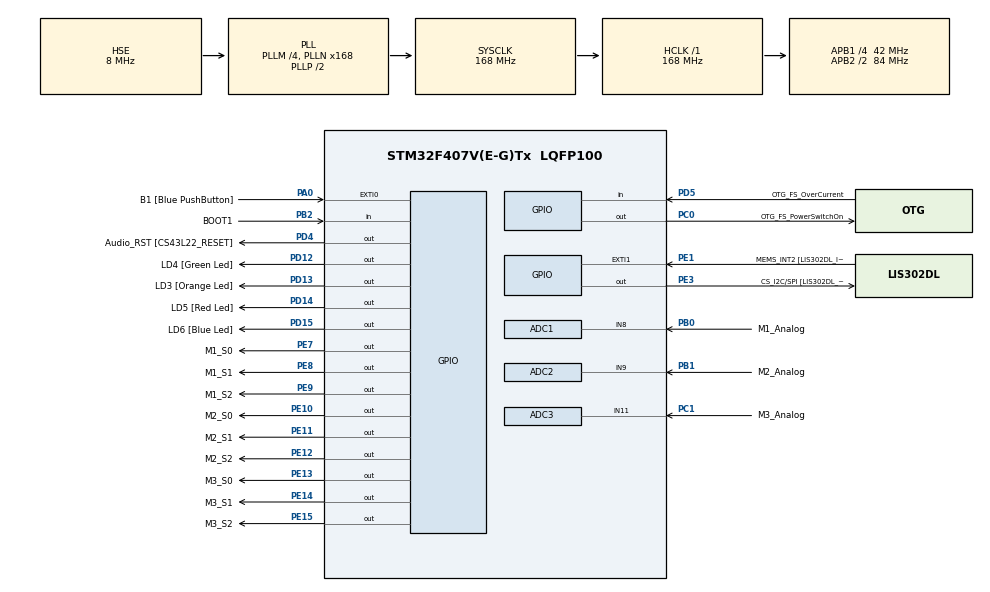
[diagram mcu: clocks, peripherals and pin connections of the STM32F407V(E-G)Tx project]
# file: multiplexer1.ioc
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ADC1.Channel-3\#ChannelRegularConversion=ADC_CHANNEL_8
ADC1.NbrOfConversionFlag=1
ADC1.Rank-3\#ChannelRegularConversion=1
ADC1.SamplingTime-3\#ChannelRegularConversion=ADC_SAMPLETIME_3CYCLES
ADC1.master=1
ADC2.Channel-4\#ChannelRegularConversion=ADC_CHANNEL_9
ADC2.NbrOfConversionFlag=1
ADC2.Rank-4\#ChannelRegularConversion=1
ADC2.SamplingTime-4\#ChannelRegularConversion=ADC_SAMPLETIME_3CYCLES
ADC3.Channel-2\#ChannelRegularConversion=ADC_CHANNEL_11
ADC3.NbrOfConversionFlag=1
ADC3.Rank-2\#ChannelRegularConversion=1
ADC3.SamplingTime-2\#ChannelRegularConversion=ADC_SAMPLETIME_3CYCLES
Mcu.Family=STM32F4
Mcu.Name=STM32F407V(E-G)Tx
Mcu.Package=LQFP100
NVIC.PriorityGroup=NVIC_PRIORITYGROUP_0
PA0-WKUP.GPIO_Label=B1 [Blue PushButton]
PA0-WKUP.Signal=GPXTI0
PA10.GPIO_Label=OTG_FS_ID
PA10.GPIO_Mode=GPIO_MODE_AF_PP
PA10.GPIO_PuPd=GPIO_NOPULL
PA10.GPIO_Speed=GPIO_SPEED_FREQ_LOW
PA10.Signal=USB_OTG_FS_ID
PA11.GPIO_Label=OTG_FS_DM
PA11.GPIO_Mode=GPIO_MODE_AF_PP
PA11.GPIO_PuPd=GPIO_NOPULL
PA11.GPIO_Speed=GPIO_SPEED_FREQ_LOW
PA11.Signal=USB_OTG_FS_DM
PA12.GPIO_Label=OTG_FS_DP
PA12.GPIO_Mode=GPIO_MODE_AF_PP
PA12.GPIO_PuPd=GPIO_NOPULL
PA12.GPIO_Speed=GPIO_SPEED_FREQ_LOW
PA12.Signal=USB_OTG_FS_DP
PA13.GPIO_Label=SWDIO
PA13.Signal=SYS_JTMS-SWDIO
PA14.GPIO_Label=SWCLK
PA14.Signal=SYS_JTCK-SWCLK
PA4.GPIO_Label=I2S3_WS [CS43L22_LRCK]
PA4.GPIO_Mode=GPIO_MODE_AF_PP
PA4.GPIO_PuPd=GPIO_NOPULL
PA4.GPIO_Speed=GPIO_SPEED_FREQ_LOW
PA4.Signal=I2S3_WS
PA5.GPIO_Label=SPI1_SCK [LIS302DL_SCL/SPC]
PA5.GPIO_Mode=GPIO_MODE_AF_PP
PA5.GPIO_PuPd=GPIO_NOPULL
PA5.GPIO_Speed=GPIO_SPEED_FREQ_LOW
PA5.Signal=SPI1_SCK
PA6.GPIO_Label=SPI1_MISO [LIS302DL_SDO]
PA6.GPIO_Mode=GPIO_MODE_AF_PP
PA6.GPIO_PuPd=GPIO_NOPULL
PA6.GPIO_Speed=GPIO_SPEED_FREQ_LOW
PA6.Signal=SPI1_MISO
PA7.GPIO_Label=SPI1_MOSI [LIS302DL_SDA/SDI/SDO]
PA7.GPIO_Mode=GPIO_MODE_AF_PP
PA7.GPIO_PuPd=GPIO_NOPULL
PA7.GPIO_Speed=GPIO_SPEED_FREQ_LOW
PA7.Signal=SPI1_MOSI
PA9.GPIO_Label=VBUS_FS
PA9.GPIO_Mode=GPIO_MODE_INPUT
PA9.GPIO_PuPd=GPIO_NOPULL
PA9.Signal=USB_OTG_FS_VBUS
PB0.GPIO_Label=M1_Analog
PB0.Signal=ADCx_IN8
PB1.GPIO_Label=M2_Analog
PB1.Signal=ADCx_IN9
PB10.GPIO_Label=CLK_IN [MP45DT02_CLK]
PB10.GPIO_Mode=GPIO_MODE_AF_PP
PB10.GPIO_PuPd=GPIO_NOPULL
PB10.GPIO_Speed=GPIO_SPEED_FREQ_LOW
PB10.Signal=I2S2_CK
PB2.GPIO_Label=BOOT1
PB2.GPIO_Mode=GPIO_MODE_INPUT
PB2.GPIO_PuPd=GPIO_NOPULL
PB2.Signal=GPIO_Input
PB3.GPIO_Label=SWO
PB3.Signal=SYS_JTDO-SWO
PB6.GPIO_Label=Audio_SCL [CS43L22_SCL]
PB6.GPIO_Mode=GPIO_MODE_AF_OD
PB6.GPIO_PuPd=GPIO_NOPULL
PB6.GPIO_Speed=GPIO_SPEED_FREQ_LOW
PB6.Signal=I2C1_SCL
PB9.GPIO_Label=Audio_SDA [CS43L22_SDA]
PB9.GPIO_Mode=GPIO_MODE_AF_OD
PB9.GPIO_PuPd=GPIO_NOPULL
PB9.GPIO_Speed=GPIO_SPEED_FREQ_LOW
PB9.Signal=I2C1_SDA
PC0.GPIO_Label=OTG_FS_PowerSwitchOn
PC0.GPIO_PuPd=GPIO_NOPULL
PC0.GPIO_Speed=GPIO_SPEED_FREQ_LOW
PC0.PinState=GPIO_PIN_SET
PC0.Signal=GPIO_Output
PC1.GPIO_Label=M3_Analog
PC1.Signal=ADCx_IN11
PC10.GPIO_Label=I2S3_SCK [CS43L22_SCLK]
PC10.GPIO_Mode=GPIO_MODE_AF_PP
PC10.GPIO_PuPd=GPIO_NOPULL
PC10.GPIO_Speed=GPIO_SPEED_FREQ_LOW
PC10.Signal=I2S3_CK
PC12.GPIO_Label=I2S3_SD [CS43L22_SDIN]
PC12.GPIO_Mode=GPIO_MODE_AF_PP
PC12.GPIO_PuPd=GPIO_NOPULL
PC12.GPIO_Speed=GPIO_SPEED_FREQ_LOW
PC12.Signal=I2S3_SD
PC14-OSC32_IN.GPIO_Label=PC14-OSC32_IN
PC14-OSC32_IN.Signal=RCC_OSC32_IN
PC15-OSC32_OUT.GPIO_Label=PC15-OSC32_OUT
PC15-OSC32_OUT.Signal=RCC_OSC32_OUT
PC3.GPIO_Label=PDM_OUT [MP45DT02_DOUT]
PC3.GPIO_Mode=GPIO_MODE_AF_PP
PC3.GPIO_PuPd=GPIO_NOPULL
PC3.GPIO_Speed=GPIO_SPEED_FREQ_LOW
PC3.Signal=I2S2_SD
PC7.GPIO_Label=I2S3_MCK [CS43L22_MCLK]
PC7.GPIO_Mode=GPIO_MODE_AF_PP
PC7.GPIO_PuPd=GPIO_NOPULL
PC7.GPIO_Speed=GPIO_SPEED_FREQ_LOW
PC7.Signal=I2S3_MCK
PD12.GPIO_Label=LD4 [Green Led]
PD12.GPIO_PuPd=GPIO_NOPULL
PD12.GPIO_Speed=GPIO_SPEED_FREQ_LOW
PD12.Signal=GPIO_Output
PD13.GPIO_Label=LD3 [Orange Led]
PD13.GPIO_PuPd=GPIO_NOPULL
PD13.GPIO_Speed=GPIO_SPEED_FREQ_LOW
PD13.Signal=GPIO_Output
PD14.GPIO_Label=LD5 [Red Led]
PD14.GPIO_PuPd=GPIO_NOPULL
PD14.GPIO_Speed=GPIO_SPEED_FREQ_LOW
PD14.Signal=GPIO_Output
PD15.GPIO_Label=LD6 [Blue Led]
PD15.GPIO_PuPd=GPIO_NOPULL
PD15.GPIO_Speed=GPIO_SPEED_FREQ_LOW
PD15.Signal=GPIO_Output
PD4.GPIO_Label=Audio_RST [CS43L22_RESET]
PD4.GPIO_PuPd=GPIO_NOPULL
PD4.GPIO_Speed=GPIO_SPEED_FREQ_LOW
PD4.Signal=GPIO_Output
PD5.GPIO_Label=OTG_FS_OverCurrent
PD5.GPIO_Mode=GPIO_MODE_INPUT
PD5.GPIO_PuPd=GPIO_NOPULL
PD5.Signal=GPIO_Input
PE1.GPIO_Label=MEMS_INT2 [LIS302DL_INT2]
PE1.GPIO_ModeDefaultEXTI=GPIO_MODE_EVT_RISING
PE1.GPIO_PuPd=GPIO_NOPULL
PE1.Signal=GPXTI1
PE10.GPIO_Label=M2_S0
PE10.Signal=GPIO_Output
PE11.GPIO_Label=M2_S1
PE11.Signal=GPIO_Output
PE12.GPIO_Label=M2_S2
PE12.Signal=GPIO_Output
PE13.GPIO_Label=M3_S0
PE13.Signal=GPIO_Output
PE14.GPIO_Label=M3_S1
PE14.Signal=GPIO_Output
PE15.GPIO_Label=M3_S2
PE15.Signal=GPIO_Output
PE3.GPIO_Label=CS_I2C/SPI [LIS302DL_CS_I2C/SPI]
PE3.GPIO_PuPd=GPIO_NOPULL
PE3.GPIO_Speed=GPIO_SPEED_FREQ_LOW
PE3.Signal=GPIO_Output
PE7.GPIO_Label=M1_S0
PE7.Signal=GPIO_Output
PE8.GPIO_Label=M1_S1
PE8.Signal=GPIO_Output
PE9.GPIO_Label=M1_S2
PE9.Signal=GPIO_Output
PH0-OSC_IN.GPIO_Label=PH0-OSC_IN
PH0-OSC_IN.Mode=HSE-External-Oscillator
PH0-OSC_IN.Signal=RCC_OSC_IN
PH1-OSC_OUT.GPIO_Label=PH1-OSC_OUT
PH1-OSC_OUT.Mode=HSE-External-Oscillator
PH1-OSC_OUT.Signal=RCC_OSC_OUT
ProjectManager.HeapSize=0x200
ProjectManager.StackSize=0x400
ProjectManager.TargetToolchain=STM32CubeIDE
RCC.48MHZClocksFreq_Value=48000000
RCC.AHBFreq_Value=168000000
RCC.APB1CLKDivider=RCC_HCLK_DIV4
RCC.APB1Freq_Value=42000000
RCC.APB1TimFreq_Value=84000000
RCC.APB2CLKDivider=RCC_HCLK_DIV2
RCC.APB2Freq_Value=84000000
RCC.APB2TimFreq_Value=168000000
RCC.CortexFreq_Value=168000000
RCC.HCLKFreq_Value=168000000
RCC.HSE_VALUE=8000000
RCC.HSI_VALUE=16000000
RCC.LSE_VALUE=32768
RCC.PLLM=4
RCC.PLLN=168
RCC.PLLQ=7
RCC.PLLSourceVirtual=RCC_PLLSOURCE_HSE
RCC.SYSCLKFreq_VALUE=168000000
RCC.SYSCLKSource=RCC_SYSCLKSOURCE_PLLCLK
RCC.VCOOutputFreq_Value=336000000
SH.ADCx_IN11.0=ADC3_IN11,IN11
SH.ADCx_IN8.0=ADC1_IN8,IN8
SH.ADCx_IN9.0=ADC2_IN9,IN9
board=STM32F407G-DISC1

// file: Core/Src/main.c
/* USER CODE BEGIN Header */
/**
  ******************************************************************************
  * @file           : main.c
  * @brief          : Main program body
  ******************************************************************************
  * @attention
  *
  * Copyright (c) 2023 STMicroelectronics.
  * All rights reserved.
  *
  * This software is licensed under terms that can be found in the LICENSE file
  * in the root directory of this software component.
  * If no LICENSE file comes with this software, it is provided AS-IS.
  *
  ******************************************************************************
  */
/* USER CODE END Header */
#include "main.h"

/* USER CODE BEGIN Includes */
#include <math.h>
/* USER CODE END Includes */

/* USER CODE BEGIN PD */
#define SELECT_PINS_PORT GPIOE
#define MUX1 0
#define MUX2 1
#define MUX3 2
#define NUMBER_OF_MULTIPLEXERS 3
/* USER CODE END PD */

ADC_HandleTypeDef hadc1;
ADC_HandleTypeDef hadc2;
ADC_HandleTypeDef hadc3;

/* USER CODE BEGIN PV */
const int MUX_SELECT_PINS[3][3] = {{M1_S0_Pin, M1_S1_Pin, M1_S2_Pin}, {M2_S0_Pin, M2_S1_Pin, M2_S2_Pin}, {M3_S0_Pin, M3_S1_Pin, M3_S2_Pin}};  // S0-S2 pins
const int NUMBER_OF_SENSORS[3] = {6, 7 ,6};  // Number of sensors connected to each multiplexer
const int MAX_RESOLUTION_VALUE = 4095;  // 12-bit ADC resolution
const int RESISTOR_47 = 4700;  // 4.7 kOhm resistor for smaller sensors
const int RESISTOR_22 = 2200;  // 2.2 kOhm resistor for bigger sensors
const double VOLT_IN = 2.95;  // STM32 supply voltage

// Conductance of bigger sensors
//	  double a = 0.06828695044280314;
//	  double b = 1.430615164520744;

// Conductance of smaller sensors
const double A = 0.21618162974535243;
const double B = 1.404494382022472;

double voltageAOC = 0.0;
double current = 0.0;
double sensorResistance = 0.0;
double conductance = 0.0;
double grams = 0.0;
double forceArray[19];

// TODO temporary
uint16_t analog1Read = 0;
uint16_t analog2Read = 0;
uint16_t analog3Read = 0;

/* USER CODE END PV */

void SystemClock_Config(void);
static void MX_GPIO_Init(void);
static void MX_ADC1_Init(void);
static void MX_ADC2_Init(void);
static void MX_ADC3_Init(void);
/* USER CODE BEGIN PFP */

void selectMuxPin(int mux, int pin) {
    for (int i = 0; i < 8; i++) {
        if (pin & (1 << i))
            HAL_GPIO_WritePin(SELECT_PINS_PORT, MUX_SELECT_PINS[mux][i], GPIO_PIN_SET);
        else
            HAL_GPIO_WritePin(SELECT_PINS_PORT, MUX_SELECT_PINS[mux][i], GPIO_PIN_RESET);
    }

}

void switchMuxPin(int mux, int pin)
{
	switch (pin){
	case 0:
		HAL_GPIO_WritePin(SELECT_PINS_PORT, MUX_SELECT_PINS[mux][0], GPIO_PIN_RESET);
		HAL_GPIO_WritePin(SELECT_PINS_PORT, MUX_SELECT_PINS[mux][1], GPIO_PIN_RESET);
		HAL_GPIO_WritePin(SELECT_PINS_PORT, MUX_SELECT_PINS[mux][2], GPIO_PIN_RESET);
		break;
	case 1:
		HAL_GPIO_WritePin(SELECT_PINS_PORT, MUX_SELECT_PINS[mux][0], GPIO_PIN_SET);
		HAL_GPIO_WritePin(SELECT_PINS_PORT, MUX_SELECT_PINS[mux][1], GPIO_PIN_RESET);
		HAL_GPIO_WritePin(SELECT_PINS_PORT, MUX_SELECT_PINS[mux][2], GPIO_PIN_RESET);
		break;
	case 2:
		HAL_GPIO_WritePin(SELECT_PINS_PORT, MUX_SELECT_PINS[mux][0], GPIO_PIN_RESET);
		HAL_GPIO_WritePin(SELECT_PINS_PORT, MUX_SELECT_PINS[mux][1], GPIO_PIN_SET);
		HAL_GPIO_WritePin(SELECT_PINS_PORT, MUX_SELECT_PINS[mux][2], GPIO_PIN_RESET);
		break;
	case 3:
		HAL_GPIO_WritePin(SELECT_PINS_PORT, MUX_SELECT_PINS[mux][0], GPIO_PIN_SET);
		HAL_GPIO_WritePin(SELECT_PINS_PORT, MUX_SELECT_PINS[mux][1], GPIO_PIN_SET);
		HAL_GPIO_WritePin(SELECT_PINS_PORT, MUX_SELECT_PINS[mux][2], GPIO_PIN_RESET);
		break;
	case 4:
		HAL_GPIO_WritePin(SELECT_PINS_PORT, MUX_SELECT_PINS[mux][0], GPIO_PIN_RESET);
		HAL_GPIO_WritePin(SELECT_PINS_PORT, MUX_SELECT_PINS[mux][1], GPIO_PIN_RESET);
		HAL_GPIO_WritePin(SELECT_PINS_PORT, MUX_SELECT_PINS[mux][2], GPIO_PIN_SET);
		break;
	case 5:
		HAL_GPIO_WritePin(SELECT_PINS_PORT, MUX_SELECT_PINS[mux][0], GPIO_PIN_SET);
		HAL_GPIO_WritePin(SELECT_PINS_PORT, MUX_SELECT_PINS[mux][1], GPIO_PIN_RESET);
		HAL_GPIO_WritePin(SELECT_PINS_PORT, MUX_SELECT_PINS[mux][2], GPIO_PIN_SET);
		break;
	case 6:
		HAL_GPIO_WritePin(SELECT_PINS_PORT, MUX_SELECT_PINS[mux][0], GPIO_PIN_RESET);
		HAL_GPIO_WritePin(SELECT_PINS_PORT, MUX_SELECT_PINS[mux][1], GPIO_PIN_SET);
		HAL_GPIO_WritePin(SELECT_PINS_PORT, MUX_SELECT_PINS[mux][2], GPIO_PIN_SET);
		break;
	case 7:
		HAL_GPIO_WritePin(SELECT_PINS_PORT, MUX_SELECT_PINS[mux][0], GPIO_PIN_SET);
		HAL_GPIO_WritePin(SELECT_PINS_PORT, MUX_SELECT_PINS[mux][1], GPIO_PIN_SET);
		HAL_GPIO_WritePin(SELECT_PINS_PORT, MUX_SELECT_PINS[mux][2], GPIO_PIN_SET);
		break;
	}

}

uint16_t hadc1Read()
{
	uint16_t analogRead = 0;

	HAL_ADC_Start(&hadc1); // start the ADC

	if(HAL_ADC_PollForConversion(&hadc1, 10) == HAL_OK)  // poll for conversion
	  {
		analogRead = HAL_ADC_GetValue(&hadc1);
	  }

	HAL_ADC_Stop(&hadc1);

	return analogRead;
}

uint16_t hadc2Read()
{
	uint16_t analogRead = 0;

	HAL_ADC_Start(&hadc2); // start the ADC

	if(HAL_ADC_PollForConversion(&hadc2, 10) == HAL_OK)  // poll for conversion
	  {
		analogRead = HAL_ADC_GetValue(&hadc2);
	  }

	HAL_ADC_Stop(&hadc2);

	return analogRead;
}

uint16_t hadc3Read()
{
	uint16_t analogRead = 0;

	HAL_ADC_Start(&hadc3); // start the ADC

	if(HAL_ADC_PollForConversion(&hadc3, 10) == HAL_OK)  // poll for conversion
	  {
	  analogRead = HAL_ADC_GetValue(&hadc3);
	  }

	HAL_ADC_Stop(&hadc3);

	return analogRead;
}

double calculateForce(uint16_t _analogRead, int _resistor)
{
//  convert analogRead to Volt
	voltageAOC = (double)_analogRead * (VOLT_IN / MAX_RESOLUTION_VALUE);  // 500mV max value
	current = voltageAOC / _resistor;
	sensorResistance = (VOLT_IN / current) - _resistor;
	conductance = 1000000 / sensorResistance;

	return ((A * pow(conductance, B)) / 1000) * 9.81; // return value in [N]
}

void readMultiplexer(int mux)
{
	for (int pin = 0; pin < NUMBER_OF_SENSORS[mux]; pin++)
	{
	  switchMuxPin(mux, pin);
	  switch(mux)
	  {
	  case MUX1:
		  forceArray[pin + mux*NUMBER_OF_SENSORS[mux]] = calculateForce(hadc1Read(), RESISTOR_47); break;
	  case MUX2:
		  forceArray[pin + mux*NUMBER_OF_SENSORS[mux]] = calculateForce(hadc2Read(), RESISTOR_47); break;
	  case MUX3:
		  forceArray[pin + mux*NUMBER_OF_SENSORS[mux]] = calculateForce(hadc3Read(), RESISTOR_47); break;
	  }
	}
}

void readGloveSignals()
{
	for (int selected_mux = MUX1; selected_mux < NUMBER_OF_MULTIPLEXERS; selected_mux++)
	{
		readMultiplexer(selected_mux);
	}
}
/* USER CODE END PFP */

int main(void)
{

  /* MCU Configuration--------------------------------------------------------*/

  /* Reset of all peripherals, Initializes the Flash interface and the Systick. */
  HAL_Init();

  /* Configure the system clock */
  SystemClock_Config();

  /* Initialize all configured peripherals */
  MX_GPIO_Init();
  MX_ADC1_Init();
  MX_ADC2_Init();
  MX_ADC3_Init();

  /* Infinite loop */
  while (1)
  {

    /* USER CODE BEGIN 3 */

	  readGloveSignals();

	  HAL_Delay(100);
  }
  /* USER CODE END 3 */
}

void SystemClock_Config(void)
{
  RCC_OscInitTypeDef RCC_OscInitStruct = {0};
  RCC_ClkInitTypeDef RCC_ClkInitStruct = {0};

  /** Configure the main internal regulator output voltage
  */
  __HAL_RCC_PWR_CLK_ENABLE();
  __HAL_PWR_VOLTAGESCALING_CONFIG(PWR_REGULATOR_VOLTAGE_SCALE1);

  /** Initializes the RCC Oscillators according to the specified parameters
  * in the RCC_OscInitTypeDef structure.
  */
  RCC_OscInitStruct.OscillatorType = RCC_OSCILLATORTYPE_HSE;
  RCC_OscInitStruct.HSEState = RCC_HSE_ON;
  RCC_OscInitStruct.PLL.PLLState = RCC_PLL_ON;
  RCC_OscInitStruct.PLL.PLLSource = RCC_PLLSOURCE_HSE;
  RCC_OscInitStruct.PLL.PLLM = 4;
  RCC_OscInitStruct.PLL.PLLN = 168;
  RCC_OscInitStruct.PLL.PLLP = RCC_PLLP_DIV2;
  RCC_OscInitStruct.PLL.PLLQ = 7;
  if (HAL_RCC_OscConfig(&RCC_OscInitStruct) != HAL_OK)
  {
    Error_Handler();
  }

  /** Initializes the CPU, AHB and APB buses clocks
  */
  RCC_ClkInitStruct.ClockType = RCC_CLOCKTYPE_HCLK|RCC_CLOCKTYPE_SYSCLK
                              |RCC_CLOCKTYPE_PCLK1|RCC_CLOCKTYPE_PCLK2;
  RCC_ClkInitStruct.SYSCLKSource = RCC_SYSCLKSOURCE_PLLCLK;
  RCC_ClkInitStruct.AHBCLKDivider = RCC_SYSCLK_DIV1;
  RCC_ClkInitStruct.APB1CLKDivider = RCC_HCLK_DIV4;
  RCC_ClkInitStruct.APB2CLKDivider = RCC_HCLK_DIV2;

  if (HAL_RCC_ClockConfig(&RCC_ClkInitStruct, FLASH_LATENCY_5) != HAL_OK)
  {
    Error_Handler();
  }
}

static void MX_ADC1_Init(void)
{

  ADC_ChannelConfTypeDef sConfig = {0};

  /** Configure the global features of the ADC (Clock, Resolution, Data Alignment and number of conversion)
  */
  hadc1.Instance = ADC1;
  hadc1.Init.ClockPrescaler = ADC_CLOCK_SYNC_PCLK_DIV4;
  hadc1.Init.Resolution = ADC_RESOLUTION_12B;
  hadc1.Init.ScanConvMode = DISABLE;
  hadc1.Init.ContinuousConvMode = DISABLE;
  hadc1.Init.DiscontinuousConvMode = DISABLE;
  hadc1.Init.ExternalTrigConvEdge = ADC_EXTERNALTRIGCONVEDGE_NONE;
  hadc1.Init.ExternalTrigConv = ADC_SOFTWARE_START;
  hadc1.Init.DataAlign = ADC_DATAALIGN_RIGHT;
  hadc1.Init.NbrOfConversion = 1;
  hadc1.Init.DMAContinuousRequests = DISABLE;
  hadc1.Init.EOCSelection = ADC_EOC_SINGLE_CONV;
  if (HAL_ADC_Init(&hadc1) != HAL_OK)
  {
    Error_Handler();
  }

  /** Configure for the selected ADC regular channel its corresponding rank in the sequencer and its sample time.
  */
  sConfig.Channel = ADC_CHANNEL_8;
  sConfig.Rank = 1;
  sConfig.SamplingTime = ADC_SAMPLETIME_3CYCLES;
  if (HAL_ADC_ConfigChannel(&hadc1, &sConfig) != HAL_OK)
  {
    Error_Handler();
  }

}

static void MX_ADC2_Init(void)
{

  ADC_ChannelConfTypeDef sConfig = {0};

  /** Configure the global features of the ADC (Clock, Resolution, Data Alignment and number of conversion)
  */
  hadc2.Instance = ADC2;
  hadc2.Init.ClockPrescaler = ADC_CLOCK_SYNC_PCLK_DIV4;
  hadc2.Init.Resolution = ADC_RESOLUTION_12B;
  hadc2.Init.ScanConvMode = DISABLE;
  hadc2.Init.ContinuousConvMode = DISABLE;
  hadc2.Init.DiscontinuousConvMode = DISABLE;
  hadc2.Init.ExternalTrigConvEdge = ADC_EXTERNALTRIGCONVEDGE_NONE;
  hadc2.Init.ExternalTrigConv = ADC_SOFTWARE_START;
  hadc2.Init.DataAlign = ADC_DATAALIGN_RIGHT;
  hadc2.Init.NbrOfConversion = 1;
  hadc2.Init.DMAContinuousRequests = DISABLE;
  hadc2.Init.EOCSelection = ADC_EOC_SINGLE_CONV;
  if (HAL_ADC_Init(&hadc2) != HAL_OK)
  {
    Error_Handler();
  }

  /** Configure for the selected ADC regular channel its corresponding rank in the sequencer and its sample time.
  */
  sConfig.Channel = ADC_CHANNEL_9;
  sConfig.Rank = 1;
  sConfig.SamplingTime = ADC_SAMPLETIME_3CYCLES;
  if (HAL_ADC_ConfigChannel(&hadc2, &sConfig) != HAL_OK)
  {
    Error_Handler();
  }

}

static void MX_ADC3_Init(void)
{

  ADC_ChannelConfTypeDef sConfig = {0};

  /** Configure the global features of the ADC (Clock, Resolution, Data Alignment and number of conversion)
  */
  hadc3.Instance = ADC3;
  hadc3.Init.ClockPrescaler = ADC_CLOCK_SYNC_PCLK_DIV4;
  hadc3.Init.Resolution = ADC_RESOLUTION_12B;
  hadc3.Init.ScanConvMode = DISABLE;
  hadc3.Init.ContinuousConvMode = DISABLE;
  hadc3.Init.DiscontinuousConvMode = DISABLE;
  hadc3.Init.ExternalTrigConvEdge = ADC_EXTERNALTRIGCONVEDGE_NONE;
  hadc3.Init.ExternalTrigConv = ADC_SOFTWARE_START;
  hadc3.Init.DataAlign = ADC_DATAALIGN_RIGHT;
  hadc3.Init.NbrOfConversion = 1;
  hadc3.Init.DMAContinuousRequests = DISABLE;
  hadc3.Init.EOCSelection = ADC_EOC_SINGLE_CONV;
  if (HAL_ADC_Init(&hadc3) != HAL_OK)
  {
    Error_Handler();
  }

  /** Configure for the selected ADC regular channel its corresponding rank in the sequencer and its sample time.
  */
  sConfig.Channel = ADC_CHANNEL_11;
  sConfig.Rank = 1;
  sConfig.SamplingTime = ADC_SAMPLETIME_3CYCLES;
  if (HAL_ADC_ConfigChannel(&hadc3, &sConfig) != HAL_OK)
  {
    Error_Handler();
  }

}

static void MX_GPIO_Init(void)
{
  GPIO_InitTypeDef GPIO_InitStruct = {0};

  /* GPIO Ports Clock Enable */
  __HAL_RCC_GPIOE_CLK_ENABLE();
  __HAL_RCC_GPIOC_CLK_ENABLE();
  __HAL_RCC_GPIOH_CLK_ENABLE();
  __HAL_RCC_GPIOA_CLK_ENABLE();
  __HAL_RCC_GPIOB_CLK_ENABLE();
  __HAL_RCC_GPIOD_CLK_ENABLE();

  /*Configure GPIO pin Output Level */
  HAL_GPIO_WritePin(GPIOE, CS_I2C_SPI_Pin|M1_S0_Pin|M1_S1_Pin|M1_S2_Pin
                          |M2_S0_Pin|M2_S1_Pin|M2_S2_Pin|M3_S0_Pin
                          |M3_S1_Pin|M3_S2_Pin, GPIO_PIN_RESET);

  /*Configure GPIO pin Output Level */
  HAL_GPIO_WritePin(OTG_FS_PowerSwitchOn_GPIO_Port, OTG_FS_PowerSwitchOn_Pin, GPIO_PIN_SET);

  /*Configure GPIO pin Output Level */
  HAL_GPIO_WritePin(GPIOD, LD4_Pin|LD3_Pin|LD5_Pin|LD6_Pin
                          |Audio_RST_Pin, GPIO_PIN_RESET);

  /*Configure GPIO pins : CS_I2C_SPI_Pin M1_S0_Pin M1_S1_Pin M1_S2_Pin
                           M2_S0_Pin M2_S1_Pin M2_S2_Pin M3_S0_Pin
                           M3_S1_Pin M3_S2_Pin */
  GPIO_InitStruct.Pin = CS_I2C_SPI_Pin|M1_S0_Pin|M1_S1_Pin|M1_S2_Pin
                          |M2_S0_Pin|M2_S1_Pin|M2_S2_Pin|M3_S0_Pin
                          |M3_S1_Pin|M3_S2_Pin;
  GPIO_InitStruct.Mode = GPIO_MODE_OUTPUT_PP;
  GPIO_InitStruct.Pull = GPIO_NOPULL;
  GPIO_InitStruct.Speed = GPIO_SPEED_FREQ_LOW;
  HAL_GPIO_Init(GPIOE, &GPIO_InitStruct);

  /*Configure GPIO pin : OTG_FS_PowerSwitchOn_Pin */
  GPIO_InitStruct.Pin = OTG_FS_PowerSwitchOn_Pin;
  GPIO_InitStruct.Mode = GPIO_MODE_OUTPUT_PP;
  GPIO_InitStruct.Pull = GPIO_NOPULL;
  GPIO_InitStruct.Speed = GPIO_SPEED_FREQ_LOW;
  HAL_GPIO_Init(OTG_FS_PowerSwitchOn_GPIO_Port, &GPIO_InitStruct);

  /*Configure GPIO pin : PDM_OUT_Pin */
  GPIO_InitStruct.Pin = PDM_OUT_Pin;
  GPIO_InitStruct.Mode = GPIO_MODE_AF_PP;
  GPIO_InitStruct.Pull = GPIO_NOPULL;
  GPIO_InitStruct.Speed = GPIO_SPEED_FREQ_LOW;
  GPIO_InitStruct.Alternate = GPIO_AF5_SPI2;
  HAL_GPIO_Init(PDM_OUT_GPIO_Port, &GPIO_InitStruct);

  /*Configure GPIO pin : B1_Pin */
  GPIO_InitStruct.Pin = B1_Pin;
  GPIO_InitStruct.Mode = GPIO_MODE_IT_RISING;
  GPIO_InitStruct.Pull = GPIO_NOPULL;
  HAL_GPIO_Init(B1_GPIO_Port, &GPIO_InitStruct);

  /*Configure GPIO pin : I2S3_WS_Pin */
  GPIO_InitStruct.Pin = I2S3_WS_Pin;
  GPIO_InitStruct.Mode = GPIO_MODE_AF_PP;
  GPIO_InitStruct.Pull = GPIO_NOPULL;
  GPIO_InitStruct.Speed = GPIO_SPEED_FREQ_LOW;
  GPIO_InitStruct.Alternate = GPIO_AF6_SPI3;
  HAL_GPIO_Init(I2S3_WS_GPIO_Port, &GPIO_InitStruct);

  /*Configure GPIO pins : SPI1_SCK_Pin SPI1_MISO_Pin SPI1_MOSI_Pin */
  GPIO_InitStruct.Pin = SPI1_SCK_Pin|SPI1_MISO_Pin|SPI1_MOSI_Pin;
  GPIO_InitStruct.Mode = GPIO_MODE_AF_PP;
  GPIO_InitStruct.Pull = GPIO_NOPULL;
  GPIO_InitStruct.Speed = GPIO_SPEED_FREQ_LOW;
  GPIO_InitStruct.Alternate = GPIO_AF5_SPI1;
  HAL_GPIO_Init(GPIOA, &GPIO_InitStruct);

  /*Configure GPIO pin : BOOT1_Pin */
  GPIO_InitStruct.Pin = BOOT1_Pin;
  GPIO_InitStruct.Mode = GPIO_MODE_INPUT;
  GPIO_InitStruct.Pull = GPIO_NOPULL;
  HAL_GPIO_Init(BOOT1_GPIO_Port, &GPIO_InitStruct);

  /*Configure GPIO pin : CLK_IN_Pin */
  GPIO_InitStruct.Pin = CLK_IN_Pin;
  GPIO_InitStruct.Mode = GPIO_MODE_AF_PP;
  GPIO_InitStruct.Pull = GPIO_NOPULL;
  GPIO_InitStruct.Speed = GPIO_SPEED_FREQ_LOW;
  GPIO_InitStruct.Alternate = GPIO_AF5_SPI2;
  HAL_GPIO_Init(CLK_IN_GPIO_Port, &GPIO_InitStruct);

  /*Configure GPIO pins : LD4_Pin LD3_Pin LD5_Pin LD6_Pin
                           Audio_RST_Pin */
  GPIO_InitStruct.Pin = LD4_Pin|LD3_Pin|LD5_Pin|LD6_Pin
                          |Audio_RST_Pin;
  GPIO_InitStruct.Mode = GPIO_MODE_OUTPUT_PP;
  GPIO_InitStruct.Pull = GPIO_NOPULL;
  GPIO_InitStruct.Speed = GPIO_SPEED_FREQ_LOW;
  HAL_GPIO_Init(GPIOD, &GPIO_InitStruct);

  /*Configure GPIO pins : I2S3_MCK_Pin I2S3_SCK_Pin I2S3_SD_Pin */
  GPIO_InitStruct.Pin = I2S3_MCK_Pin|I2S3_SCK_Pin|I2S3_SD_Pin;
  GPIO_InitStruct.Mode = GPIO_MODE_AF_PP;
  GPIO_InitStruct.Pull = GPIO_NOPULL;
  GPIO_InitStruct.Speed = GPIO_SPEED_FREQ_LOW;
  GPIO_InitStruct.Alternate = GPIO_AF6_SPI3;
  HAL_GPIO_Init(GPIOC, &GPIO_InitStruct);

  /*Configure GPIO pin : VBUS_FS_Pin */
  GPIO_InitStruct.Pin = VBUS_FS_Pin;
  GPIO_InitStruct.Mode = GPIO_MODE_INPUT;
  GPIO_InitStruct.Pull = GPIO_NOPULL;
  HAL_GPIO_Init(VBUS_FS_GPIO_Port, &GPIO_InitStruct);

  /*Configure GPIO pins : OTG_FS_ID_Pin OTG_FS_DM_Pin OTG_FS_DP_Pin */
  GPIO_InitStruct.Pin = OTG_FS_ID_Pin|OTG_FS_DM_Pin|OTG_FS_DP_Pin;
  GPIO_InitStruct.Mode = GPIO_MODE_AF_PP;
  GPIO_InitStruct.Pull = GPIO_NOPULL;
  GPIO_InitStruct.Speed = GPIO_SPEED_FREQ_LOW;
  GPIO_InitStruct.Alternate = GPIO_AF10_OTG_FS;
  HAL_GPIO_Init(GPIOA, &GPIO_InitStruct);

  /*Configure GPIO pin : OTG_FS_OverCurrent_Pin */
  GPIO_InitStruct.Pin = OTG_FS_OverCurrent_Pin;
  GPIO_InitStruct.Mode = GPIO_MODE_INPUT;
  GPIO_InitStruct.Pull = GPIO_NOPULL;
  HAL_GPIO_Init(OTG_FS_OverCurrent_GPIO_Port, &GPIO_InitStruct);

  /*Configure GPIO pins : Audio_SCL_Pin Audio_SDA_Pin */
  GPIO_InitStruct.Pin = Audio_SCL_Pin|Audio_SDA_Pin;
  GPIO_InitStruct.Mode = GPIO_MODE_AF_OD;
  GPIO_InitStruct.Pull = GPIO_NOPULL;
  GPIO_InitStruct.Speed = GPIO_SPEED_FREQ_LOW;
  GPIO_InitStruct.Alternate = GPIO_AF4_I2C1;
  HAL_GPIO_Init(GPIOB, &GPIO_InitStruct);

  /*Configure GPIO pin : MEMS_INT2_Pin */
  GPIO_InitStruct.Pin = MEMS_INT2_Pin;
  GPIO_InitStruct.Mode = GPIO_MODE_EVT_RISING;
  GPIO_InitStruct.Pull = GPIO_NOPULL;
  HAL_GPIO_Init(MEMS_INT2_GPIO_Port, &GPIO_InitStruct);

}

void Error_Handler(void)
{
  __disable_irq();
  while (1)
  {
  }
}
